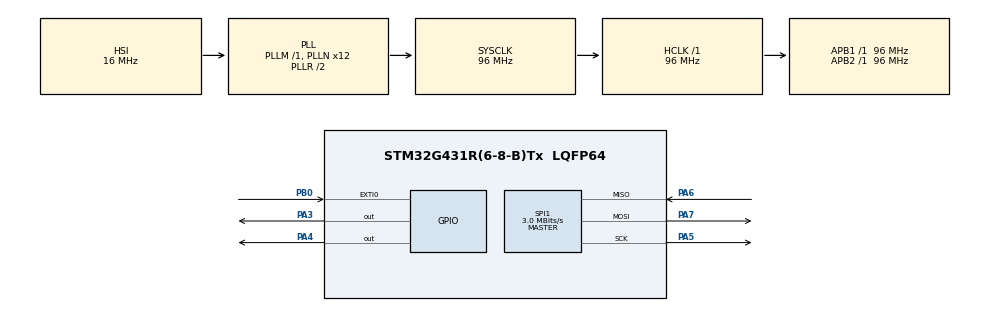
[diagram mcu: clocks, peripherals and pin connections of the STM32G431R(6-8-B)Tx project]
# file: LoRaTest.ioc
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Mcu.Family=STM32G4
Mcu.Name=STM32G431R(6-8-B)Tx
Mcu.Package=LQFP64
NVIC.EXTI0_IRQn=true\:0\:0\:false\:false\:true\:true\:true\:true
NVIC.PriorityGroup=NVIC_PRIORITYGROUP_4
NVIC.SPI1_IRQn=true\:0\:0\:false\:false\:true\:true\:true\:true
PA13.Mode=Serial_Wire
PA13.Signal=SYS_JTMS-SWDIO
PA14.Mode=Serial_Wire
PA14.Signal=SYS_JTCK-SWCLK
PA3.GPIO_Speed=GPIO_SPEED_FREQ_HIGH
PA3.PinState=GPIO_PIN_SET
PA3.Signal=GPIO_Output
PA4.GPIO_Speed=GPIO_SPEED_FREQ_HIGH
PA4.PinState=GPIO_PIN_SET
PA4.Signal=GPIO_Output
PA5.Mode=Full_Duplex_Master
PA5.Signal=SPI1_SCK
PA6.Mode=Full_Duplex_Master
PA6.Signal=SPI1_MISO
PA7.Mode=Full_Duplex_Master
PA7.Signal=SPI1_MOSI
PB0.GPIO_PuPd=GPIO_PULLDOWN
PB0.Signal=GPXTI0
PF0-OSC_IN.Mode=HSE-External-Oscillator
PF0-OSC_IN.Signal=RCC_OSC_IN
PF1-OSC_OUT.Mode=HSE-External-Oscillator
PF1-OSC_OUT.Signal=RCC_OSC_OUT
ProjectManager.HeapSize=0x200
ProjectManager.StackSize=0x400
ProjectManager.TargetToolchain=STM32CubeIDE
RCC.ADC12Freq_Value=96000000
RCC.AHBFreq_Value=96000000
RCC.APB1Freq_Value=96000000
RCC.APB1TimFreq_Value=96000000
RCC.APB2Freq_Value=96000000
RCC.APB2TimFreq_Value=96000000
RCC.CortexFreq_Value=96000000
RCC.EXTERNAL_CLOCK_VALUE=12288000
RCC.HCLKFreq_Value=96000000
RCC.HSE_VALUE=8000000
RCC.HSI48_VALUE=48000000
RCC.HSI_VALUE=16000000
RCC.LSE_VALUE=32768
RCC.PLLN=12
RCC.PLLQ=RCC_PLLQ_DIV4
RCC.SYSCLKFreq_VALUE=96000000
RCC.SYSCLKSource=RCC_SYSCLKSOURCE_PLLCLK
RCC.USBFreq_Value=48000000
RCC.VCOOutputFreq_Value=192000000
SPI1.BaudRatePrescaler=SPI_BAUDRATEPRESCALER_32
SPI1.CalculateBaudRate=3.0 MBits/s
SPI1.DataSize=SPI_DATASIZE_8BIT
SPI1.Direction=SPI_DIRECTION_2LINES
SPI1.Mode=SPI_MODE_MASTER
SPI1.NSSPMode=SPI_NSS_PULSE_DISABLE
SPI1.VirtualType=VM_MASTER
VP_CRC_VS_CRC.Mode=CRC_Activate
VP_RNG_VS_RNG.Mode=RNG_Activate
VP_SYS_VS_DBSignals.Mode=DisableDeadBatterySignals
board=custom

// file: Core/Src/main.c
/* USER CODE BEGIN Header */
/**
  ******************************************************************************
  * @file           : main.c
  * @brief          : Main program body
  ******************************************************************************
  * @attention
  *
  * Copyright (c) 2025 STMicroelectronics.
  * All rights reserved.
  *
  * This software is licensed under terms that can be found in the LICENSE file
  * in the root directory of this software component.
  * If no LICENSE file comes with this software, it is provided AS-IS.
  *
  ******************************************************************************
  */
/* USER CODE END Header */
#include "main.h"

/* USER CODE BEGIN Includes */
#include "sx1272.h"
/* USER CODE END Includes */

CRC_HandleTypeDef hcrc;

RNG_HandleTypeDef hrng;

SPI_HandleTypeDef hspi1;

/* USER CODE BEGIN PV */
extern uint8_t SX1272_RxBuffer[256];
/* USER CODE END PV */

void SystemClock_Config(void);
static void MX_GPIO_Init(void);
static void MX_CRC_Init(void);
static void MX_SPI1_Init(void);
static void MX_RNG_Init(void);
/* USER CODE BEGIN PFP */
uint8_t txBuffer[256];
uint8_t rxBuffer[256];
uint8_t status;
uint8_t irqFlags;
/* USER CODE END PFP */

/* USER CODE BEGIN 0 */
void HAL_GPIO_EXTI_Callback(uint16_t GPIO_Pin)
{
    if (GPIO_Pin == SX1272_DIO0_PIN)
    {
        irqFlags = SX1272_ReadReg(REG_IRQ_FLAGS);
        //printf("EXTI! IRQ=0x%02X\r\n", irqFlags);
        SX1272_HandleDIO0();
    }
}
/* USER CODE END 0 */

int main(void)
{

  /* MCU Configuration--------------------------------------------------------*/

  /* Reset of all peripherals, Initializes the Flash interface and the Systick. */
  HAL_Init();

  /* Configure the system clock */
  SystemClock_Config();

  /* Initialize all configured peripherals */
  MX_GPIO_Init();
  MX_CRC_Init();
  MX_SPI1_Init();
  MX_RNG_Init();
  /* USER CODE BEGIN 2 */
  SX1272_Init();
  status = SX1272_ReadReg(0x42);
  SX1272_Receive();
  int8_t msg[] = "Hello World";

 // Start receiving
 HAL_Delay(2000);
 uint8_t counter = 0;
 SX1272_Transmit(msg, strlen((char*)msg));
  /* USER CODE END 2 */

  /* Infinite loop */
  /* USER CODE BEGIN WHILE */
  while (1)
  {
	  static uint32_t lastSend = 0;
	  if(HAL_GetTick() - lastSend >= 5000) {
		  SX1272_Transmit(msg, strlen((char*)msg));
		  lastSend = HAL_GetTick();
	  }

	  if (SX1272_ReadReg(REG_IRQ_FLAGS) & IRQ_RX_DONE_MASK)
	  {
	      //printf("POLLED RX DONE\r\n");
	      SX1272_HandleDIO0();
	  }

    /* USER CODE END WHILE */

  }
}

void SystemClock_Config(void)
{
  RCC_OscInitTypeDef RCC_OscInitStruct = {0};
  RCC_ClkInitTypeDef RCC_ClkInitStruct = {0};

  /** Configure the main internal regulator output voltage
  */
  HAL_PWREx_ControlVoltageScaling(PWR_REGULATOR_VOLTAGE_SCALE1);

  /** Initializes the RCC Oscillators according to the specified parameters
  * in the RCC_OscInitTypeDef structure.
  */
  RCC_OscInitStruct.OscillatorType = RCC_OSCILLATORTYPE_HSI;
  RCC_OscInitStruct.HSIState = RCC_HSI_ON;
  RCC_OscInitStruct.HSICalibrationValue = RCC_HSICALIBRATION_DEFAULT;
  RCC_OscInitStruct.PLL.PLLState = RCC_PLL_ON;
  RCC_OscInitStruct.PLL.PLLSource = RCC_PLLSOURCE_HSI;
  RCC_OscInitStruct.PLL.PLLM = RCC_PLLM_DIV1;
  RCC_OscInitStruct.PLL.PLLN = 12;
  RCC_OscInitStruct.PLL.PLLP = RCC_PLLP_DIV2;
  RCC_OscInitStruct.PLL.PLLQ = RCC_PLLQ_DIV4;
  RCC_OscInitStruct.PLL.PLLR = RCC_PLLR_DIV2;
  if (HAL_RCC_OscConfig(&RCC_OscInitStruct) != HAL_OK)
  {
    Error_Handler();
  }

  /** Initializes the CPU, AHB and APB buses clocks
  */
  RCC_ClkInitStruct.ClockType = RCC_CLOCKTYPE_HCLK|RCC_CLOCKTYPE_SYSCLK
                              |RCC_CLOCKTYPE_PCLK1|RCC_CLOCKTYPE_PCLK2;
  RCC_ClkInitStruct.SYSCLKSource = RCC_SYSCLKSOURCE_PLLCLK;
  RCC_ClkInitStruct.AHBCLKDivider = RCC_SYSCLK_DIV1;
  RCC_ClkInitStruct.APB1CLKDivider = RCC_HCLK_DIV1;
  RCC_ClkInitStruct.APB2CLKDivider = RCC_HCLK_DIV1;

  if (HAL_RCC_ClockConfig(&RCC_ClkInitStruct, FLASH_LATENCY_3) != HAL_OK)
  {
    Error_Handler();
  }
}

static void MX_CRC_Init(void)
{

  hcrc.Instance = CRC;
  hcrc.Init.DefaultPolynomialUse = DEFAULT_POLYNOMIAL_ENABLE;
  hcrc.Init.DefaultInitValueUse = DEFAULT_INIT_VALUE_ENABLE;
  hcrc.Init.InputDataInversionMode = CRC_INPUTDATA_INVERSION_NONE;
  hcrc.Init.OutputDataInversionMode = CRC_OUTPUTDATA_INVERSION_DISABLE;
  hcrc.InputDataFormat = CRC_INPUTDATA_FORMAT_BYTES;
  if (HAL_CRC_Init(&hcrc) != HAL_OK)
  {
    Error_Handler();
  }

}

static void MX_RNG_Init(void)
{

  hrng.Instance = RNG;
  hrng.Init.ClockErrorDetection = RNG_CED_ENABLE;
  if (HAL_RNG_Init(&hrng) != HAL_OK)
  {
    Error_Handler();
  }

}

static void MX_SPI1_Init(void)
{

  /* SPI1 parameter configuration*/
  hspi1.Instance = SPI1;
  hspi1.Init.Mode = SPI_MODE_MASTER;
  hspi1.Init.Direction = SPI_DIRECTION_2LINES;
  hspi1.Init.DataSize = SPI_DATASIZE_8BIT;
  hspi1.Init.CLKPolarity = SPI_POLARITY_LOW;
  hspi1.Init.CLKPhase = SPI_PHASE_1EDGE;
  hspi1.Init.NSS = SPI_NSS_SOFT;
  hspi1.Init.BaudRatePrescaler = SPI_BAUDRATEPRESCALER_32;
  hspi1.Init.FirstBit = SPI_FIRSTBIT_MSB;
  hspi1.Init.TIMode = SPI_TIMODE_DISABLE;
  hspi1.Init.CRCCalculation = SPI_CRCCALCULATION_DISABLE;
  hspi1.Init.CRCPolynomial = 7;
  hspi1.Init.CRCLength = SPI_CRC_LENGTH_DATASIZE;
  hspi1.Init.NSSPMode = SPI_NSS_PULSE_DISABLE;
  if (HAL_SPI_Init(&hspi1) != HAL_OK)
  {
    Error_Handler();
  }

}

static void MX_GPIO_Init(void)
{
  GPIO_InitTypeDef GPIO_InitStruct = {0};

  /* GPIO Ports Clock Enable */
  __HAL_RCC_GPIOF_CLK_ENABLE();
  __HAL_RCC_GPIOA_CLK_ENABLE();
  __HAL_RCC_GPIOB_CLK_ENABLE();

  /*Configure GPIO pin Output Level */
  HAL_GPIO_WritePin(GPIOA, GPIO_PIN_3|GPIO_PIN_4, GPIO_PIN_SET);

  /*Configure GPIO pins : PA3 PA4 */
  GPIO_InitStruct.Pin = GPIO_PIN_3|GPIO_PIN_4;
  GPIO_InitStruct.Mode = GPIO_MODE_OUTPUT_PP;
  GPIO_InitStruct.Pull = GPIO_NOPULL;
  GPIO_InitStruct.Speed = GPIO_SPEED_FREQ_HIGH;
  HAL_GPIO_Init(GPIOA, &GPIO_InitStruct);

  /*Configure GPIO pin : PB0 */
  GPIO_InitStruct.Pin = GPIO_PIN_0;
  GPIO_InitStruct.Mode = GPIO_MODE_IT_RISING;
  GPIO_InitStruct.Pull = GPIO_PULLDOWN;
  HAL_GPIO_Init(GPIOB, &GPIO_InitStruct);

  /* EXTI interrupt init*/
  HAL_NVIC_SetPriority(EXTI0_IRQn, 0, 0);
  HAL_NVIC_EnableIRQ(EXTI0_IRQn);

}

void Error_Handler(void)
{
  __disable_irq();
  while (1)
  {
  }
}
